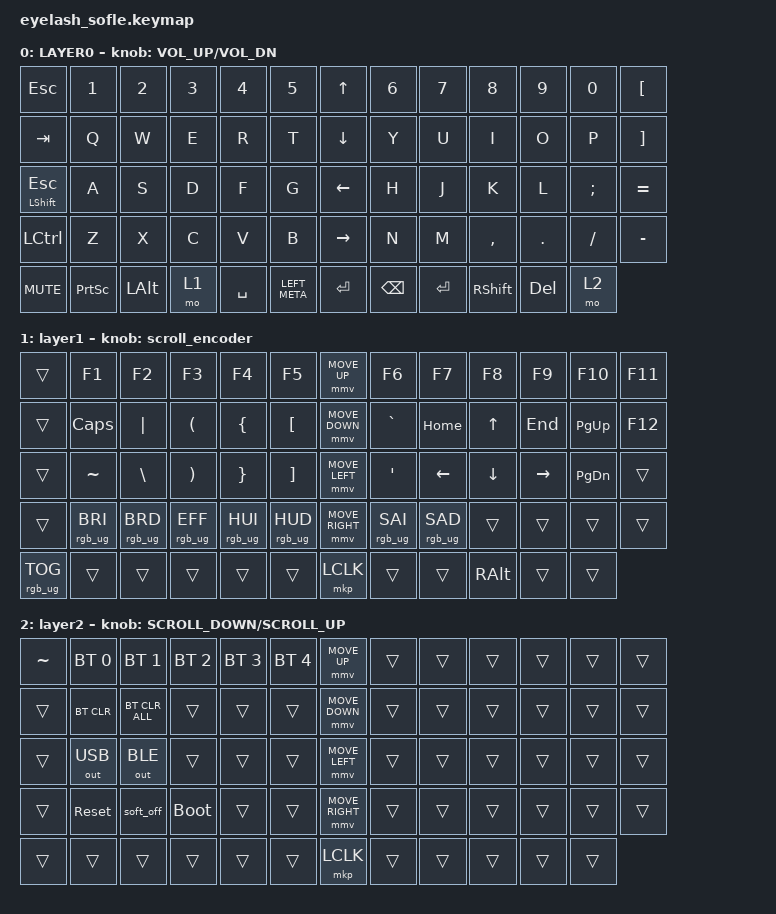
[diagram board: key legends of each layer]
#define ZMK_POINTING_DEFAULT_MOVE_VAL 1200  // 600
#define ZMK_POINTING_DEFAULT_SCRL_VAL 25   // 10

#include <input/processors.dtsi>
#include <zephyr/dt-bindings/input/input-event-codes.h>
#include <behaviors.dtsi>
#include <dt-bindings/zmk/bt.h>
#include <dt-bindings/zmk/keys.h>
#include <dt-bindings/zmk/outputs.h>
#include <dt-bindings/zmk/pointing.h>
#include <dt-bindings/zmk/rgb.h>

&mmv_input_listener { input-processors = <&zip_xy_scaler 2 1>; };

&msc_input_listener { input-processors = <&zip_scroll_scaler 2 1>; };

&msc {
    acceleration-exponent = <1>;      // 0
    time-to-max-speed-ms = <100>;       // 300
    delay-ms = <0>;                   // 0
};

&mmv {
    time-to-max-speed-ms = <500>;
    acceleration-exponent = <1>;
    trigger-period-ms = <16>;
};

&soft_off { hold-time-ms = <2000>; };

/ {
    scroll_encoder: scroll_encoder {
        compatible = "zmk,behavior-sensor-rotate";
        #sensor-binding-cells = <0>;
        bindings = <&msc SCRL_DOWN>, <&msc SCRL_UP>;

        tap-ms = <100>;
    };

    behaviors {
    };

    combos {
        compatible = "zmk,combos";

        JK_ESC {
            bindings = <&kp ESCAPE>;
            key-positions = <34 35>;
        };
    };

    macros {
        SHIFT_MCLK: SHIFT_MCLK {
            compatible = "zmk,behavior-macro";
            #binding-cells = <0>;
            bindings =
                <&macro_press>,
                <&kp LEFT_SHIFT>,
                <&macro_press>,
                <&mkp MB3>,
                <&macro_pause_for_release>,
                <&macro_release>,
                <&kp LEFT_SHIFT &mkp MB3>;

            label = "SHIFT_MCLK";
        };
    };

    keymap {
        compatible = "zmk,keymap";

        Primary {
            bindings = <
&kp ESC                &kp N1           &kp N2        &kp N3  &kp N4     &kp N5           &kp UP_ARROW     &kp N6         &kp N7     &kp N8           &kp N9      &kp N0    &kp LEFT_BRACKET
&kp TAB                &kp Q            &kp W         &kp E   &kp R      &kp T            &kp DOWN_ARROW   &kp Y          &kp U      &kp I            &kp O       &kp P     &kp RIGHT_BRACKET
&mt LEFT_SHIFT ESCAPE  &kp A            &kp S         &kp D   &kp F      &kp G            &kp LEFT_ARROW   &kp H          &kp J      &kp K            &kp L       &kp SEMI  &kp EQUAL
&kp LCTRL              &kp Z            &kp X         &kp C   &kp V      &kp B            &kp RIGHT_ARROW  &kp N          &kp M      &kp COMMA        &kp DOT     &kp FSLH  &kp MINUS
&kp C_MUTE             &kp PRINTSCREEN  &kp LEFT_ALT  &mo 1   &kp SPACE  &kp LEFT_META    &kp ENTER        &kp BACKSPACE  &kp ENTER  &kp RIGHT_SHIFT  &kp DELETE  &mo 2
            >;

            sensor-bindings = <&inc_dec_kp C_VOLUME_UP C_VOL_DN>;
            display-name = "LAYER0";
        };

        Secondary {
            bindings = <
&trans           &kp F1           &kp F2           &kp F3                 &kp F4           &kp F5               &mmv MOVE_UP     &kp F6            &kp F7           &kp F8         &kp F9     &kp F10        &kp F11
&trans           &kp CAPSLOCK     &kp PIPE         &kp LEFT_PARENTHESIS   &kp LEFT_BRACE   &kp LEFT_BRACKET     &mmv MOVE_DOWN   &kp GRAVE         &kp HOME         &kp UP         &kp END    &kp PAGE_UP    &kp F12
&trans           &kp TILDE        &kp BACKSLASH    &kp RIGHT_PARENTHESIS  &kp RIGHT_BRACE  &kp RIGHT_BRACKET    &mmv MOVE_LEFT   &kp SINGLE_QUOTE  &kp LEFT         &kp DOWN       &kp RIGHT  &kp PAGE_DOWN  &trans
&trans           &rgb_ug RGB_BRI  &rgb_ug RGB_BRD  &rgb_ug RGB_EFF        &rgb_ug RGB_HUI  &rgb_ug RGB_HUD      &mmv MOVE_RIGHT  &rgb_ug RGB_SAI   &rgb_ug RGB_SAD  &trans         &trans     &trans         &trans
&rgb_ug RGB_TOG  &trans           &trans           &trans                 &trans           &trans               &mkp LCLK        &trans            &trans           &kp RIGHT_ALT  &trans     &trans
            >;

            display-name = "layer1";
            sensor-bindings = <&scroll_encoder>;
        };

        bluetooth {
            bindings = <
&kp TILDE  &bt BT_SEL 0  &bt BT_SEL 1    &bt BT_SEL 2  &bt BT_SEL 3  &bt BT_SEL 4    &mmv MOVE_UP     &trans  &trans  &trans  &trans  &trans  &trans
&trans     &bt BT_CLR    &bt BT_CLR_ALL  &trans        &trans        &trans          &mmv MOVE_DOWN   &trans  &trans  &trans  &trans  &trans  &trans
&trans     &out OUT_USB  &out OUT_BLE    &trans        &trans        &trans          &mmv MOVE_LEFT   &trans  &trans  &trans  &trans  &trans  &trans
&trans     &sys_reset    &soft_off       &bootloader   &trans        &trans          &mmv MOVE_RIGHT  &trans  &trans  &trans  &trans  &trans  &trans
&trans     &trans        &trans          &trans        &trans        &trans          &mkp LCLK        &trans  &trans  &trans  &trans  &trans
            >;

            display-name = "layer2";
            sensor-bindings = <&inc_dec_kp K_SCROLL_DOWN K_SCROLL_UP>;
        };
    };
};
